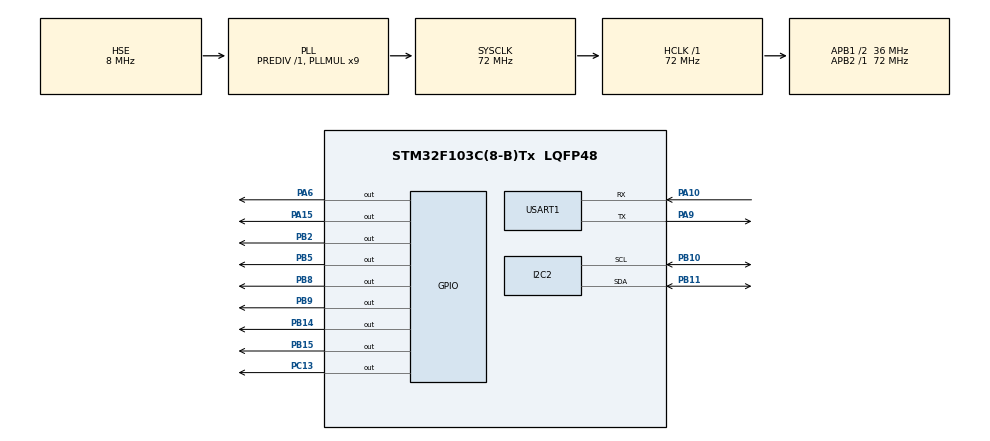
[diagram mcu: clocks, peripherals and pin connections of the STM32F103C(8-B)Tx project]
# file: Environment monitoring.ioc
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Mcu.Family=STM32F1
Mcu.Name=STM32F103C(8-B)Tx
Mcu.Package=LQFP48
NVIC.PriorityGroup=NVIC_PRIORITYGROUP_4
NVIC.TIM3_IRQn=true\:0\:0\:false\:false\:true\:true\:true\:true
PA10.Mode=Asynchronous
PA10.Signal=USART1_RX
PA13.Mode=Serial_Wire
PA13.Signal=SYS_JTMS-SWDIO
PA14.Mode=Serial_Wire
PA14.Signal=SYS_JTCK-SWCLK
PA15.Signal=GPIO_Output
PA6.Signal=GPIO_Output
PA9.Mode=Asynchronous
PA9.Signal=USART1_TX
PB10.Mode=I2C
PB10.Signal=I2C2_SCL
PB11.Mode=I2C
PB11.Signal=I2C2_SDA
PB14.Signal=GPIO_Output
PB15.Signal=GPIO_Output
PB2.Signal=GPIO_Output
PB5.Signal=GPIO_Output
PB8.Signal=GPIO_Output
PB9.Signal=GPIO_Output
PC13-TAMPER-RTC.Signal=GPIO_Output
PD0-OSC_IN.Mode=HSE-External-Oscillator
PD0-OSC_IN.Signal=RCC_OSC_IN
PD1-OSC_OUT.Mode=HSE-External-Oscillator
PD1-OSC_OUT.Signal=RCC_OSC_OUT
ProjectManager.HeapSize=0x200
ProjectManager.StackSize=0x400
ProjectManager.TargetToolchain=MDK-ARM V5.32
RCC.AHBFreq_Value=72000000
RCC.APB1CLKDivider=RCC_HCLK_DIV2
RCC.APB1Freq_Value=36000000
RCC.APB1TimFreq_Value=72000000
RCC.APB2Freq_Value=72000000
RCC.APB2TimFreq_Value=72000000
RCC.HCLKFreq_Value=72000000
RCC.PLLMUL=RCC_PLL_MUL9
RCC.PLLSourceVirtual=RCC_PLLSOURCE_HSE
RCC.SYSCLKFreq_VALUE=72000000
RCC.SYSCLKSource=RCC_SYSCLKSOURCE_PLLCLK
RCC.USBFreq_Value=72000000
TIM3.Period=10000-1
TIM3.Prescaler=7200-1
USART1.VirtualMode=VM_ASYNC
VP_TIM3_VS_ClockSourceINT.Mode=Internal
board=custom

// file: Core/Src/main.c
/* USER CODE BEGIN Header */
/**
  ******************************************************************************
  * @file           : main.c
  * @brief          : Main program body
  ******************************************************************************
  * @attention
  *
  * Copyright (c) 2022 STMicroelectronics.
  * All rights reserved.
  *
  * This software is licensed under terms that can be found in the LICENSE file
  * in the root directory of this software component.
  * If no LICENSE file comes with this software, it is provided AS-IS.
  *
  ******************************************************************************
  */
/* USER CODE END Header */
#include "main.h"
#include "i2c.h"
#include "tim.h"
#include "usart.h"
#include "gpio.h"

/* USER CODE BEGIN Includes */
#include "delay.h"
#include "oled.h"
#include "DHT11.h"
/* USER CODE END Includes */

/* USER CODE BEGIN PTD */
unsigned char tempH,tempL,humiH,humiL;
/* USER CODE END PTD */

void SystemClock_Config(void);

int main(void)
{

  /* MCU Configuration--------------------------------------------------------*/

  /* Reset of all peripherals, Initializes the Flash interface and the Systick. */
  HAL_Init();

  /* Configure the system clock */
  SystemClock_Config();

  /* Initialize all configured peripherals */
  MX_GPIO_Init();
  MX_USART1_UART_Init();
  MX_I2C2_Init();
  MX_TIM3_Init();
  /* USER CODE BEGIN 2 */
	delay_init(72);
	OLED_Init();
	OLED_Clear();
	HAL_TIM_Base_Start_IT(&htim3);
  /* USER CODE END 2 */

  /* Infinite loop */
  while (1)
  {

  }
}

void SystemClock_Config(void)
{
  RCC_OscInitTypeDef RCC_OscInitStruct = {0};
  RCC_ClkInitTypeDef RCC_ClkInitStruct = {0};

  /** Initializes the RCC Oscillators according to the specified parameters
  * in the RCC_OscInitTypeDef structure.
  */
  RCC_OscInitStruct.OscillatorType = RCC_OSCILLATORTYPE_HSE;
  RCC_OscInitStruct.HSEState = RCC_HSE_ON;
  RCC_OscInitStruct.HSEPredivValue = RCC_HSE_PREDIV_DIV1;
  RCC_OscInitStruct.HSIState = RCC_HSI_ON;
  RCC_OscInitStruct.PLL.PLLState = RCC_PLL_ON;
  RCC_OscInitStruct.PLL.PLLSource = RCC_PLLSOURCE_HSE;
  RCC_OscInitStruct.PLL.PLLMUL = RCC_PLL_MUL9;
  if (HAL_RCC_OscConfig(&RCC_OscInitStruct) != HAL_OK)
  {
    Error_Handler();
  }

  /** Initializes the CPU, AHB and APB buses clocks
  */
  RCC_ClkInitStruct.ClockType = RCC_CLOCKTYPE_HCLK|RCC_CLOCKTYPE_SYSCLK
                              |RCC_CLOCKTYPE_PCLK1|RCC_CLOCKTYPE_PCLK2;
  RCC_ClkInitStruct.SYSCLKSource = RCC_SYSCLKSOURCE_PLLCLK;
  RCC_ClkInitStruct.AHBCLKDivider = RCC_SYSCLK_DIV1;
  RCC_ClkInitStruct.APB1CLKDivider = RCC_HCLK_DIV2;
  RCC_ClkInitStruct.APB2CLKDivider = RCC_HCLK_DIV1;

  if (HAL_RCC_ClockConfig(&RCC_ClkInitStruct, FLASH_LATENCY_2) != HAL_OK)
  {
    Error_Handler();
  }
}

/* USER CODE BEGIN 4 */
void HAL_TIM_PeriodElapsedCallback(TIM_HandleTypeDef *htim)//1s
 {
		if(htim->Instance==TIM3)
		{
			DHT11_Read_Data(&tempH,&tempL,&humiH,&humiL);
			OLED_ShowNum(0,0,tempH,2,16);
			OLED_ShowNum(50,0,tempL,2,16);
			OLED_ShowNum(0,50,humiH,2,16);
			OLED_ShowNum(50,50,humiL,2,16);
			OLED_Refresh();
		}
 }

/* USER CODE END 4 */

void Error_Handler(void)
{
  __disable_irq();
  while (1)
  {
  }
}
